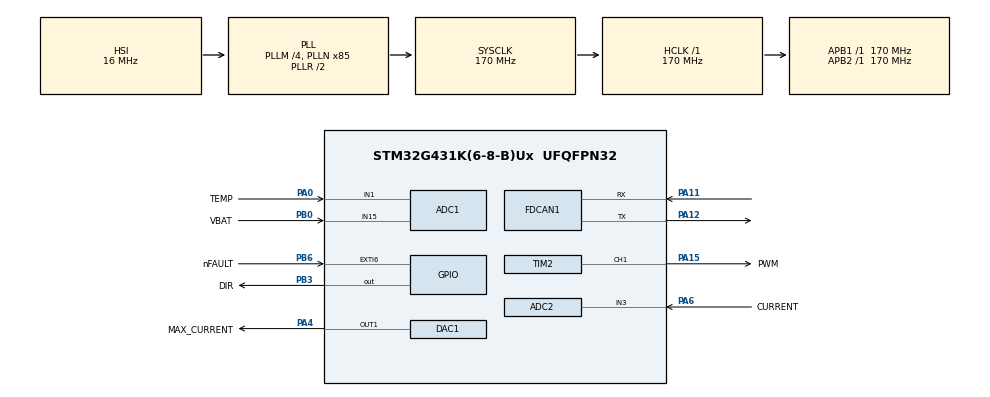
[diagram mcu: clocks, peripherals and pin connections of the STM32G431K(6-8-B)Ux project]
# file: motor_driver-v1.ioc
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ADC1.Channel-0\#ChannelRegularConversion=ADC_CHANNEL_1
ADC1.Channel-1\#ChannelRegularConversion=ADC_CHANNEL_15
ADC1.ClockPrescaler=ADC_CLOCK_SYNC_PCLK_DIV4
ADC1.ContinuousConvMode=ENABLE
ADC1.DMAContinuousRequests=ENABLE
ADC1.NbrOfConversion=2
ADC1.NbrOfConversionFlag=1
ADC1.OffsetNumber-0\#ChannelRegularConversion=ADC_OFFSET_NONE
ADC1.OffsetNumber-1\#ChannelRegularConversion=ADC_OFFSET_NONE
ADC1.Overrun=ADC_OVR_DATA_OVERWRITTEN
ADC1.Rank-0\#ChannelRegularConversion=1
ADC1.Rank-1\#ChannelRegularConversion=2
ADC1.SamplingTime-0\#ChannelRegularConversion=ADC_SAMPLETIME_92CYCLES_5
ADC1.SamplingTime-1\#ChannelRegularConversion=ADC_SAMPLETIME_92CYCLES_5
ADC1.master=1
ADC2.Channel-0\#ChannelRegularConversion=ADC_CHANNEL_3
ADC2.ClockPrescaler=ADC_CLOCK_SYNC_PCLK_DIV4
ADC2.ContinuousConvMode=ENABLE
ADC2.DMAContinuousRequests=ENABLE
ADC2.NbrOfConversion=1
ADC2.NbrOfConversionFlag=1
ADC2.OffsetNumber-0\#ChannelRegularConversion=ADC_OFFSET_NONE
ADC2.Overrun=ADC_OVR_DATA_OVERWRITTEN
ADC2.Rank-0\#ChannelRegularConversion=1
ADC2.SamplingTime-0\#ChannelRegularConversion=ADC_SAMPLETIME_92CYCLES_5
Dma.ADC1.0.Direction=DMA_PERIPH_TO_MEMORY
Dma.ADC1.0.EventEnable=DISABLE
Dma.ADC1.0.Instance=DMA1_Channel1
Dma.ADC1.0.MemDataAlignment=DMA_MDATAALIGN_HALFWORD
Dma.ADC1.0.MemInc=DMA_MINC_ENABLE
Dma.ADC1.0.Mode=DMA_CIRCULAR
Dma.ADC1.0.PeriphDataAlignment=DMA_PDATAALIGN_HALFWORD
Dma.ADC1.0.PeriphInc=DMA_PINC_DISABLE
Dma.ADC1.0.Polarity=HAL_DMAMUX_REQ_GEN_RISING
Dma.ADC1.0.Priority=DMA_PRIORITY_LOW
Dma.ADC1.0.RequestNumber=1
Dma.ADC1.0.SignalID=NONE
Dma.ADC1.0.SyncEnable=DISABLE
Dma.ADC1.0.SyncPolarity=HAL_DMAMUX_SYNC_NO_EVENT
Dma.ADC1.0.SyncRequestNumber=1
Dma.ADC1.0.SyncSignalID=NONE
Dma.ADC2.1.Direction=DMA_PERIPH_TO_MEMORY
Dma.ADC2.1.EventEnable=DISABLE
Dma.ADC2.1.Instance=DMA1_Channel2
Dma.ADC2.1.MemDataAlignment=DMA_MDATAALIGN_HALFWORD
Dma.ADC2.1.MemInc=DMA_MINC_ENABLE
Dma.ADC2.1.Mode=DMA_CIRCULAR
Dma.ADC2.1.PeriphDataAlignment=DMA_PDATAALIGN_HALFWORD
Dma.ADC2.1.PeriphInc=DMA_PINC_DISABLE
Dma.ADC2.1.Polarity=HAL_DMAMUX_REQ_GEN_RISING
Dma.ADC2.1.Priority=DMA_PRIORITY_LOW
Dma.ADC2.1.RequestNumber=1
Dma.ADC2.1.SignalID=NONE
Dma.ADC2.1.SyncEnable=DISABLE
Dma.ADC2.1.SyncPolarity=HAL_DMAMUX_SYNC_NO_EVENT
Dma.ADC2.1.SyncRequestNumber=1
Dma.ADC2.1.SyncSignalID=NONE
Dma.Request0=ADC1
Dma.Request1=ADC2
FDCAN1.CalculateBaudRateNominal=500000
FDCAN1.CalculateTimeBitNominal=2000
FDCAN1.CalculateTimeQuantumNominal=100.0
FDCAN1.DataPrescaler=17
FDCAN1.DataTimeSeg1=15
FDCAN1.DataTimeSeg2=4
FDCAN1.FrameFormat=FDCAN_FRAME_CLASSIC
FDCAN1.NominalPrescaler=17
FDCAN1.NominalTimeSeg1=15
FDCAN1.NominalTimeSeg2=4
Mcu.Family=STM32G4
Mcu.Name=STM32G431K(6-8-B)Ux
Mcu.Package=UFQFPN32
NVIC.DMA1_Channel1_IRQn=true\:14\:0\:true\:false\:true\:false\:true\:true
NVIC.DMA1_Channel2_IRQn=true\:14\:0\:true\:false\:true\:false\:true\:true
NVIC.EXTI9_5_IRQn=true\:0\:0\:true\:false\:true\:true\:true\:true
NVIC.FDCAN1_IT0_IRQn=true\:4\:0\:true\:false\:true\:true\:true\:true
NVIC.FDCAN1_IT1_IRQn=true\:5\:0\:true\:false\:true\:true\:true\:true
NVIC.PriorityGroup=NVIC_PRIORITYGROUP_4
NVIC.TIM1_BRK_TIM15_IRQn=true\:3\:0\:true\:false\:true\:true\:true\:true
NVIC.TIM1_TRG_COM_TIM17_IRQn=true\:0\:0\:false\:false\:true\:true\:true\:true
NVIC.TIM1_UP_TIM16_IRQn=true\:2\:0\:true\:false\:true\:true\:true\:true
NVIC.TIM6_DAC_IRQn=true\:6\:0\:true\:false\:true\:true\:true\:true
PA0.GPIO_Label=TEMP
PA0.Mode=IN1-Single-Ended
PA0.Signal=ADC1_IN1
PA11.Mode=FDCAN_Activate
PA11.Signal=FDCAN1_RX
PA12.Mode=FDCAN_Activate
PA12.Signal=FDCAN1_TX
PA13.Mode=Serial_Wire
PA13.Signal=SYS_JTMS-SWDIO
PA14.Mode=Serial_Wire
PA14.Signal=SYS_JTCK-SWCLK
PA15.GPIO_Label=PWM
PA15.Signal=S_TIM2_CH1
PA4.GPIO_Label=MAX_CURRENT
PA4.Signal=COMP_DAC11_group
PA6.GPIO_Label=CURRENT
PA6.Mode=IN3-Single-Ended
PA6.Signal=ADC2_IN3
PB0.GPIO_Label=VBAT
PB0.Mode=IN15-Single-Ended
PB0.Signal=ADC1_IN15
PB3.GPIO_Label=DIR
PB3.Signal=GPIO_Output
PB6.GPIO_Label=nFAULT
PB6.GPIO_PuPd=GPIO_PULLUP
PB6.Signal=GPXTI6
ProjectManager.HeapSize=0x200
ProjectManager.StackSize=0x400
ProjectManager.TargetToolchain=STM32CubeIDE
RCC.ADC12Freq_Value=170000000
RCC.AHBFreq_Value=170000000
RCC.APB1Freq_Value=170000000
RCC.APB1TimFreq_Value=170000000
RCC.APB2Freq_Value=170000000
RCC.APB2TimFreq_Value=170000000
RCC.CortexFreq_Value=170000000
RCC.EXTERNAL_CLOCK_VALUE=12288000
RCC.HCLKFreq_Value=170000000
RCC.HSE_VALUE=48000000
RCC.HSI48_VALUE=48000000
RCC.HSI_VALUE=16000000
RCC.LSE_VALUE=32768
RCC.PLLM=RCC_PLLM_DIV4
RCC.PLLN=85
RCC.SYSCLKFreq_VALUE=170000000
RCC.SYSCLKSource=RCC_SYSCLKSOURCE_PLLCLK
RCC.USBFreq_Value=170000000
RCC.VCOOutputFreq_Value=340000000
SH.COMP_DAC11_group.0=DAC1_OUT1,DAC_OUT1
SH.S_TIM2_CH1.0=TIM2_CH1,PWM Generation1 CH1
TIM15.AutoReloadPreload=TIM_AUTORELOAD_PRELOAD_ENABLE
TIM15.PeriodNoDither=100-1
TIM15.Prescaler=85-1
TIM16.AutoReloadPreload=TIM_AUTORELOAD_PRELOAD_ENABLE
TIM16.PeriodNoDither=1000-1
TIM16.Prescaler=17-1
TIM17.AutoReloadPreload=TIM_AUTORELOAD_PRELOAD_ENABLE
TIM17.PeriodNoDither=100-1
TIM17.Prescaler=17-1
TIM2.Channel-PWM\ Generation1\ CH1=TIM_CHANNEL_1
TIM2.PeriodNoDither=1000-1
TIM2.Prescaler=17-1
VP_SYS_VS_DBSignals.Mode=DisableDeadBatterySignals
VP_TIM15_VS_ClockSourceINT.Mode=Internal
VP_TIM16_VS_ClockSourceINT.Mode=Enable_Timer
VP_TIM17_VS_ClockSourceINT.Mode=Enable_Timer
board=custom

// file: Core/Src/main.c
/* USER CODE BEGIN Header */
/**
  ******************************************************************************
  * @file           : main.c
  * @brief          : Main program body
  ******************************************************************************
  * @attention
  *
  * Copyright (c) 2026 STMicroelectronics.
  * All rights reserved.
  *
  * This software is licensed under terms that can be found in the LICENSE file
  * in the root directory of this software component.
  * If no LICENSE file comes with this software, it is provided AS-IS.
  *
  ******************************************************************************
  */
/* USER CODE END Header */
#include "main.h"

/* USER CODE BEGIN Includes */
#include <math.h>
/* USER CODE END Includes */

/* USER CODE BEGIN PD */
#define READ 		1
#define WRITE 		0
#define TRUE 		1
#define FALSE 		0

//ADC channels
#define Current				     	0 //ADC2, channel no. 0

#define FET_Temp					0 //ADC1, channel no. 0
#define Battery_Voltage_Channel 	1 //ADC1, channel no. 1

// Electrical parameters
#define Shunt_Resistor	     	 (float)0.010	// Ohm
#define Voltage_Resistor_Top 			91.0		// kOhm
#define Voltage_Resistor_Bottom  		10.0		// kOhm

//#define Reference_Voltage				3.6157		// V
#define Reference_Voltage				3.262		// V
#define NTC_Series_Resistor				10000	// Ohm
#define NTC_Beta						3453
#define NTC_Nominal_Resistance			10000	// Ohm
#define NTC_Nominal_Temperature			25		// C degree
#define ADC_MAX_VALUE					4096
#define C_OFFSET						20

// Limits
#define	OVERTEMP_DUTY					400				// Maximum duty operation over Temperature normal limit;
#define HARDWARE_CURRENT_LIMIT_FACTOR	0.8				// HArdware current limiter in % where 1 is 100% for over-temp condition;
#define HARDWARE_CURRENT_LIMIT			1000			// DAC reference value for current limit 0-1000
#define SHORT_DURATION_CURRENT_LIMIT 	1				// Maximum short duration motor current in Amps
#define LONG_DURATION_CURRENT_LIMIT 	1				// Maximum long duration motor current in Amps
#define LONG_DURATION_THRESHOLD 		2000			// Time to apply Long Duration Current limit in Milliseconds
#define DAC_REVERENCE_VOLTAGE			1000			// 0-4096 equal to 0-3.3V Reference voltage as current limiter
#define MAX_MOTOR_TEMPERATURE			90				// Maximum allowed motor temperature in C
#define MAX_FET_TEMPERATURE				90				// Maximum allowed mosfets temperature in C

#define CAN_TIMEOUT						20000				// Time after driver goes to idle. 200 is 1second

// MACHINE STATES
#define IDLE							0
#define RUN								1
#define ERROR							3

// ERRORS STATES
#define OK								0
#define SDOC							4		// Short Duration over current error
#define LDOC						   64		// Long Duration over current error
#define OVERTEMP_FET				   16		// FET Over-temperature
#define OVERTEMP_MOTOR				    8		// Motor Over-temperature
#define CRITICAL_ERROR				  128		// Critical error, emergency motor shutdown

#define MOTOR_A							0		// RIGHT MOTOR
#define MOTOR_B							1		// LEFT MOTOR
#define FORWARD							6		// MOTOR DIRECTION
#define REVERSE							8		//

#define CAN_ID_CTRL  60
#define CAN_ID_DRV0  67
#define CAN_ID_DRV1  69
#define MACHINE_CHOICE 1
// Error MAP
//		Bit 0		| 		Bit 1		| 		Bit 2		| 		Bit 3		| 		Bit 4		| 		Bit 5		| 		Bit 6		| 		Bit 7		|
//  Critical Error	|  LD Over-current	| 	   Not Used		|  FET Temperature	| Motor Temperature	|	SD Over current |	   Not Used		| 	Motor Status	|
//	 0-OK  1-Error	|	0-OK   1-Error	|   	  0			|  0-OK	  1-Error	|  0-OK	  1-Error	|  0-OK	  1-Error	|  		  0			| 0 - Idle 1 - Run	|
/* USER CODE END PD */

ADC_HandleTypeDef hadc1;
ADC_HandleTypeDef hadc2;
DMA_HandleTypeDef hdma_adc1;
DMA_HandleTypeDef hdma_adc2;

DAC_HandleTypeDef hdac1;

FDCAN_HandleTypeDef hfdcan1;

TIM_HandleTypeDef htim2;
TIM_HandleTypeDef htim15;
TIM_HandleTypeDef htim16;
TIM_HandleTypeDef htim17;

/* USER CODE BEGIN PV */
volatile int32_t dupa=-21;
volatile int32_t dupa2=-21;
volatile int32_t dupa3=-21;

// State Machine
uint8_t 			MACHINE_STATE;

// peripheral's Buffers
volatile uint16_t ADC1_BUFFER[2];	 //TEMP, VBAT
volatile uint16_t ADC2_BUFFER[1];	//CURRENT

FDCAN_RxHeaderTypeDef 		CAN_RX_Header; 		//CAN Bus Transmit Header
FDCAN_TxHeaderTypeDef 		CAN_TX_Header; 		//CAN Bus Receive Header
FDCAN_FilterTypeDef 		CAN_Filter; 		//CAN Bus Filter
uint8_t 					CAN_RX		[8];  	//CAN Receive Buffer
uint8_t 					CAN_TX		[8];	//CAN Transmit Buffer

// CAN Register Map:
uint8_t CAN_Format;
uint8_t CAN_Addres_Mask;
uint8_t CAN_ADDR;
uint8_t Motor_Temp_Limit;
uint8_t FET_Temp_Limit;
uint8_t Max_Current_Peak;
uint8_t Max_Current_Continous;
uint8_t Max_Acceleration;
uint8_t Max_Deceleration;

uint8_t CAN_Acceleration;
int16_t CAN_Duty;
uint8_t CAN_Status_Instruction;

uint8_t CAN_STATUS_FLAG;
uint8_t CAN_NEW_MESSEGE_NOTIFICATION_DING_DING_DONG=0;

// Status Registers
volatile int16_t Actual_Duty;
volatile float	Motor_Current;
volatile uint8_t Motor_Error;
volatile uint8_t Motor_Status;
volatile float Motor_Temperature;
volatile float FET_Temperature;
volatile uint16_t DAC_Value;
volatile uint8_t REVERSED;

float	 		Battery_Voltage;
float			Battery_constant;
float			Current_constant;

//performance!
volatile uint8_t CAN_TX_OVERFLOW = 0;
volatile uint8_t CAN_RX_OVERFLOW = 0;
static uint8_t SELF_CAN_ID;

// OLD Variables
// Current measurements for debug - to implement in functions
volatile uint32_t 		CurrentA_Average = 0;
/* USER CODE END PV */

void SystemClock_Config(void);
static void MX_GPIO_Init(void);
static void MX_DMA_Init(void);
static void MX_ADC1_Init(void);
static void MX_ADC2_Init(void);
static void MX_DAC1_Init(void);
static void MX_FDCAN1_Init(void);
static void MX_TIM2_Init(void);
static void MX_TIM17_Init(void);
static void MX_TIM15_Init(void);
static void MX_TIM16_Init(void);
/* USER CODE BEGIN PFP */

void Interrupt10kHz(void);
void PREPARE_AND_SEND_CAN_RESPONSE_IT(void);
void Interrupt200Hz(void);

void Idle(void);
void Run(void);
void InError(void);

// Read and filter motor currents
void MovingAverage(uint16_t Measured_Current);

// Motor Control
int16_t Motor_Control(int16_t Duty, uint8_t Motor);
int16_t OverCurrent_Compensation(int16_t Duty, uint8_t Motor);
int16_t OverTemp_Compensation(int16_t Duty, uint8_t Motor);
uint8_t LDOC_check(uint8_t Motor);
void EmergencyShutdown(void);

void Set_Motor(uint8_t motor, int16_t velocity);
int16_t ConvertPWM (uint8_t DIR1, uint16_t PWM);
uint8_t SetBrakeFlag (uint8_t DIR1, uint8_t DIR2);

void Calculate_Temp(void);
/* USER CODE END PFP */

int main(void)
{

  /* MCU Configuration--------------------------------------------------------*/

  /* Reset of all peripherals, Initializes the Flash interface and the Systick. */
  HAL_Init();

  /* USER CODE BEGIN Init */
  //HAL_Delay(100);
  /* USER CODE END Init */

  /* Configure the system clock */
  SystemClock_Config();

  /* Initialize all configured peripherals */
  MX_GPIO_Init();
  MX_DMA_Init();
  MX_ADC1_Init();
  MX_ADC2_Init();
  MX_DAC1_Init();
  MX_FDCAN1_Init();
  MX_TIM2_Init();
  MX_TIM17_Init();
  MX_TIM15_Init();
  MX_TIM16_Init();
  /* USER CODE BEGIN 2 */

	__HAL_TIM_SET_COUNTER(&htim15, 0);
	//__HAL_TIM_SET_COUNTER(&htim16, 0);
	//__HAL_TIM_SET_COUNTER(&htim17, 0);

	__HAL_TIM_CLEAR_FLAG(&htim15, TIM_FLAG_UPDATE);
	//__HAL_TIM_CLEAR_FLAG(&htim16, TIM_FLAG_UPDATE);
	//__HAL_TIM_CLEAR_FLAG(&htim17, TIM_FLAG_UPDATE);

	if(HAL_TIM_Base_Start_IT(&htim15) != HAL_OK) //200Hz, watchdog
		Error_Handler();
	//if(HAL_TIM_Base_Start_IT(&htim16) != HAL_OK) //1Khz, can response
		//Error_Handler();
	//if(HAL_TIM_Base_Start_IT(&htim17) != HAL_OK) //10KHz, main
		//Error_Handler();

  /* USER CODE END 2 */

  /* Infinite loop */
  /* USER CODE BEGIN WHILE */
  while (1)
  {
	  dupa++;

    /* USER CODE END WHILE */

  }
}

void SystemClock_Config(void)
{
  RCC_OscInitTypeDef RCC_OscInitStruct = {0};
  RCC_ClkInitTypeDef RCC_ClkInitStruct = {0};

  /** Configure the main internal regulator output voltage
  */
  HAL_PWREx_ControlVoltageScaling(PWR_REGULATOR_VOLTAGE_SCALE1_BOOST);

  /** Initializes the RCC Oscillators according to the specified parameters
  * in the RCC_OscInitTypeDef structure.
  */
  RCC_OscInitStruct.OscillatorType = RCC_OSCILLATORTYPE_HSI;
  RCC_OscInitStruct.HSIState = RCC_HSI_ON;
  RCC_OscInitStruct.HSICalibrationValue = RCC_HSICALIBRATION_DEFAULT;
  RCC_OscInitStruct.PLL.PLLState = RCC_PLL_ON;
  RCC_OscInitStruct.PLL.PLLSource = RCC_PLLSOURCE_HSI;
  RCC_OscInitStruct.PLL.PLLM = RCC_PLLM_DIV4;
  RCC_OscInitStruct.PLL.PLLN = 85;
  RCC_OscInitStruct.PLL.PLLP = RCC_PLLP_DIV2;
  RCC_OscInitStruct.PLL.PLLQ = RCC_PLLQ_DIV2;
  RCC_OscInitStruct.PLL.PLLR = RCC_PLLR_DIV2;
  if (HAL_RCC_OscConfig(&RCC_OscInitStruct) != HAL_OK)
  {
    Error_Handler();
  }

  /** Initializes the CPU, AHB and APB buses clocks
  */
  RCC_ClkInitStruct.ClockType = RCC_CLOCKTYPE_HCLK|RCC_CLOCKTYPE_SYSCLK
                              |RCC_CLOCKTYPE_PCLK1|RCC_CLOCKTYPE_PCLK2;
  RCC_ClkInitStruct.SYSCLKSource = RCC_SYSCLKSOURCE_PLLCLK;
  RCC_ClkInitStruct.AHBCLKDivider = RCC_SYSCLK_DIV1;
  RCC_ClkInitStruct.APB1CLKDivider = RCC_HCLK_DIV1;
  RCC_ClkInitStruct.APB2CLKDivider = RCC_HCLK_DIV1;

  if (HAL_RCC_ClockConfig(&RCC_ClkInitStruct, FLASH_LATENCY_4) != HAL_OK)
  {
    Error_Handler();
  }
}

static void MX_ADC1_Init(void)
{

  ADC_MultiModeTypeDef multimode = {0};
  ADC_ChannelConfTypeDef sConfig = {0};

  /** Common config
  */
  hadc1.Instance = ADC1;
  hadc1.Init.ClockPrescaler = ADC_CLOCK_SYNC_PCLK_DIV4;
  hadc1.Init.Resolution = ADC_RESOLUTION_12B;
  hadc1.Init.DataAlign = ADC_DATAALIGN_RIGHT;
  hadc1.Init.GainCompensation = 0;
  hadc1.Init.ScanConvMode = ADC_SCAN_ENABLE;
  hadc1.Init.EOCSelection = ADC_EOC_SINGLE_CONV;
  hadc1.Init.LowPowerAutoWait = DISABLE;
  hadc1.Init.ContinuousConvMode = ENABLE;
  hadc1.Init.NbrOfConversion = 2;
  hadc1.Init.DiscontinuousConvMode = DISABLE;
  hadc1.Init.ExternalTrigConv = ADC_SOFTWARE_START;
  hadc1.Init.ExternalTrigConvEdge = ADC_EXTERNALTRIGCONVEDGE_NONE;
  hadc1.Init.DMAContinuousRequests = ENABLE;
  hadc1.Init.Overrun = ADC_OVR_DATA_OVERWRITTEN;
  hadc1.Init.OversamplingMode = DISABLE;
  if (HAL_ADC_Init(&hadc1) != HAL_OK)
  {
    Error_Handler();
  }

  /** Configure the ADC multi-mode
  */
  multimode.Mode = ADC_MODE_INDEPENDENT;
  if (HAL_ADCEx_MultiModeConfigChannel(&hadc1, &multimode) != HAL_OK)
  {
    Error_Handler();
  }

  /** Configure Regular Channel
  */
  sConfig.Channel = ADC_CHANNEL_1;
  sConfig.Rank = ADC_REGULAR_RANK_1;
  sConfig.SamplingTime = ADC_SAMPLETIME_92CYCLES_5;
  sConfig.SingleDiff = ADC_SINGLE_ENDED;
  sConfig.OffsetNumber = ADC_OFFSET_NONE;
  sConfig.Offset = 0;
  if (HAL_ADC_ConfigChannel(&hadc1, &sConfig) != HAL_OK)
  {
    Error_Handler();
  }

  /** Configure Regular Channel
  */
  sConfig.Channel = ADC_CHANNEL_15;
  sConfig.Rank = ADC_REGULAR_RANK_2;
  if (HAL_ADC_ConfigChannel(&hadc1, &sConfig) != HAL_OK)
  {
    Error_Handler();
  }

}

static void MX_ADC2_Init(void)
{

  ADC_ChannelConfTypeDef sConfig = {0};

  /** Common config
  */
  hadc2.Instance = ADC2;
  hadc2.Init.ClockPrescaler = ADC_CLOCK_SYNC_PCLK_DIV4;
  hadc2.Init.Resolution = ADC_RESOLUTION_12B;
  hadc2.Init.DataAlign = ADC_DATAALIGN_RIGHT;
  hadc2.Init.GainCompensation = 0;
  hadc2.Init.ScanConvMode = ADC_SCAN_DISABLE;
  hadc2.Init.EOCSelection = ADC_EOC_SINGLE_CONV;
  hadc2.Init.LowPowerAutoWait = DISABLE;
  hadc2.Init.ContinuousConvMode = ENABLE;
  hadc2.Init.NbrOfConversion = 1;
  hadc2.Init.DiscontinuousConvMode = DISABLE;
  hadc2.Init.ExternalTrigConv = ADC_SOFTWARE_START;
  hadc2.Init.ExternalTrigConvEdge = ADC_EXTERNALTRIGCONVEDGE_NONE;
  hadc2.Init.DMAContinuousRequests = ENABLE;
  hadc2.Init.Overrun = ADC_OVR_DATA_OVERWRITTEN;
  hadc2.Init.OversamplingMode = DISABLE;
  if (HAL_ADC_Init(&hadc2) != HAL_OK)
  {
    Error_Handler();
  }

  /** Configure Regular Channel
  */
  sConfig.Channel = ADC_CHANNEL_3;
  sConfig.Rank = ADC_REGULAR_RANK_1;
  sConfig.SamplingTime = ADC_SAMPLETIME_92CYCLES_5;
  sConfig.SingleDiff = ADC_SINGLE_ENDED;
  sConfig.OffsetNumber = ADC_OFFSET_NONE;
  sConfig.Offset = 0;
  if (HAL_ADC_ConfigChannel(&hadc2, &sConfig) != HAL_OK)
  {
    Error_Handler();
  }

}

static void MX_DAC1_Init(void)
{

  DAC_ChannelConfTypeDef sConfig = {0};

  /** DAC Initialization
  */
  hdac1.Instance = DAC1;
  if (HAL_DAC_Init(&hdac1) != HAL_OK)
  {
    Error_Handler();
  }

  /** DAC channel OUT1 config
  */
  sConfig.DAC_HighFrequency = DAC_HIGH_FREQUENCY_INTERFACE_MODE_AUTOMATIC;
  sConfig.DAC_DMADoubleDataMode = DISABLE;
  sConfig.DAC_SignedFormat = DISABLE;
  sConfig.DAC_SampleAndHold = DAC_SAMPLEANDHOLD_DISABLE;
  sConfig.DAC_Trigger = DAC_TRIGGER_NONE;
  sConfig.DAC_Trigger2 = DAC_TRIGGER_NONE;
  sConfig.DAC_OutputBuffer = DAC_OUTPUTBUFFER_ENABLE;
  sConfig.DAC_ConnectOnChipPeripheral = DAC_CHIPCONNECT_EXTERNAL;
  sConfig.DAC_UserTrimming = DAC_TRIMMING_FACTORY;
  if (HAL_DAC_ConfigChannel(&hdac1, &sConfig, DAC_CHANNEL_1) != HAL_OK)
  {
    Error_Handler();
  }

}

static void MX_FDCAN1_Init(void)
{

  hfdcan1.Instance = FDCAN1;
  hfdcan1.Init.ClockDivider = FDCAN_CLOCK_DIV1;
  hfdcan1.Init.FrameFormat = FDCAN_FRAME_CLASSIC;
  hfdcan1.Init.Mode = FDCAN_MODE_NORMAL;
  hfdcan1.Init.AutoRetransmission = DISABLE;
  hfdcan1.Init.TransmitPause = DISABLE;
  hfdcan1.Init.ProtocolException = DISABLE;
  hfdcan1.Init.NominalPrescaler = 17;
  hfdcan1.Init.NominalSyncJumpWidth = 1;
  hfdcan1.Init.NominalTimeSeg1 = 15;
  hfdcan1.Init.NominalTimeSeg2 = 4;
  hfdcan1.Init.DataPrescaler = 17;
  hfdcan1.Init.DataSyncJumpWidth = 1;
  hfdcan1.Init.DataTimeSeg1 = 15;
  hfdcan1.Init.DataTimeSeg2 = 4;
  hfdcan1.Init.StdFiltersNbr = 0;
  hfdcan1.Init.ExtFiltersNbr = 0;
  hfdcan1.Init.TxFifoQueueMode = FDCAN_TX_FIFO_OPERATION;
  if (HAL_FDCAN_Init(&hfdcan1) != HAL_OK)
  {
    Error_Handler();
  }

}

static void MX_TIM2_Init(void)
{

  TIM_MasterConfigTypeDef sMasterConfig = {0};
  TIM_OC_InitTypeDef sConfigOC = {0};

  htim2.Instance = TIM2;
  htim2.Init.Prescaler = 17-1;
  htim2.Init.CounterMode = TIM_COUNTERMODE_UP;
  htim2.Init.Period = 999;
  htim2.Init.ClockDivision = TIM_CLOCKDIVISION_DIV1;
  htim2.Init.AutoReloadPreload = TIM_AUTORELOAD_PRELOAD_DISABLE;
  if (HAL_TIM_PWM_Init(&htim2) != HAL_OK)
  {
    Error_Handler();
  }
  sMasterConfig.MasterOutputTrigger = TIM_TRGO_RESET;
  sMasterConfig.MasterSlaveMode = TIM_MASTERSLAVEMODE_DISABLE;
  if (HAL_TIMEx_MasterConfigSynchronization(&htim2, &sMasterConfig) != HAL_OK)
  {
    Error_Handler();
  }
  sConfigOC.OCMode = TIM_OCMODE_PWM1;
  sConfigOC.Pulse = 0;
  sConfigOC.OCPolarity = TIM_OCPOLARITY_HIGH;
  sConfigOC.OCFastMode = TIM_OCFAST_DISABLE;
  if (HAL_TIM_PWM_ConfigChannel(&htim2, &sConfigOC, TIM_CHANNEL_1) != HAL_OK)
  {
    Error_Handler();
  }
  HAL_TIM_MspPostInit(&htim2);

}

static void MX_TIM15_Init(void)
{

  TIM_ClockConfigTypeDef sClockSourceConfig = {0};
  TIM_MasterConfigTypeDef sMasterConfig = {0};

  htim15.Instance = TIM15;
  htim15.Init.Prescaler = 85-1;
  htim15.Init.CounterMode = TIM_COUNTERMODE_UP;
  htim15.Init.Period = 99;
  htim15.Init.ClockDivision = TIM_CLOCKDIVISION_DIV1;
  htim15.Init.RepetitionCounter = 0;
  htim15.Init.AutoReloadPreload = TIM_AUTORELOAD_PRELOAD_ENABLE;
  if (HAL_TIM_Base_Init(&htim15) != HAL_OK)
  {
    Error_Handler();
  }
  sClockSourceConfig.ClockSource = TIM_CLOCKSOURCE_INTERNAL;
  if (HAL_TIM_ConfigClockSource(&htim15, &sClockSourceConfig) != HAL_OK)
  {
    Error_Handler();
  }
  sMasterConfig.MasterOutputTrigger = TIM_TRGO_RESET;
  sMasterConfig.MasterSlaveMode = TIM_MASTERSLAVEMODE_DISABLE;
  if (HAL_TIMEx_MasterConfigSynchronization(&htim15, &sMasterConfig) != HAL_OK)
  {
    Error_Handler();
  }

}

static void MX_TIM16_Init(void)
{

  htim16.Instance = TIM16;
  htim16.Init.Prescaler = 17-1;
  htim16.Init.CounterMode = TIM_COUNTERMODE_UP;
  htim16.Init.Period = 999;
  htim16.Init.ClockDivision = TIM_CLOCKDIVISION_DIV1;
  htim16.Init.RepetitionCounter = 0;
  htim16.Init.AutoReloadPreload = TIM_AUTORELOAD_PRELOAD_ENABLE;
  if (HAL_TIM_Base_Init(&htim16) != HAL_OK)
  {
    Error_Handler();
  }

}

static void MX_TIM17_Init(void)
{

  htim17.Instance = TIM17;
  htim17.Init.Prescaler = 17-1;
  htim17.Init.CounterMode = TIM_COUNTERMODE_UP;
  htim17.Init.Period = 99;
  htim17.Init.ClockDivision = TIM_CLOCKDIVISION_DIV1;
  htim17.Init.RepetitionCounter = 0;
  htim17.Init.AutoReloadPreload = TIM_AUTORELOAD_PRELOAD_ENABLE;
  if (HAL_TIM_Base_Init(&htim17) != HAL_OK)
  {
    Error_Handler();
  }

}

static void MX_DMA_Init(void)
{

  /* DMA controller clock enable */
  __HAL_RCC_DMAMUX1_CLK_ENABLE();
  __HAL_RCC_DMA1_CLK_ENABLE();

  /* DMA interrupt init */
  /* DMA1_Channel1_IRQn interrupt configuration */
  HAL_NVIC_SetPriority(DMA1_Channel1_IRQn, 14, 0);
  HAL_NVIC_EnableIRQ(DMA1_Channel1_IRQn);
  /* DMA1_Channel2_IRQn interrupt configuration */
  HAL_NVIC_SetPriority(DMA1_Channel2_IRQn, 14, 0);
  HAL_NVIC_EnableIRQ(DMA1_Channel2_IRQn);

}

static void MX_GPIO_Init(void)
{
  GPIO_InitTypeDef GPIO_InitStruct = {0};

  /* GPIO Ports Clock Enable */
  __HAL_RCC_GPIOA_CLK_ENABLE();
  __HAL_RCC_GPIOB_CLK_ENABLE();

  /*Configure GPIO pin Output Level */
  HAL_GPIO_WritePin(DIR_GPIO_Port, DIR_Pin, GPIO_PIN_RESET);

  /*Configure GPIO pin : DIR_Pin */
  GPIO_InitStruct.Pin = DIR_Pin;
  GPIO_InitStruct.Mode = GPIO_MODE_OUTPUT_PP;
  GPIO_InitStruct.Pull = GPIO_NOPULL;
  GPIO_InitStruct.Speed = GPIO_SPEED_FREQ_LOW;
  HAL_GPIO_Init(DIR_GPIO_Port, &GPIO_InitStruct);

  /*Configure GPIO pin : nFAULT_Pin */
  GPIO_InitStruct.Pin = nFAULT_Pin;
  GPIO_InitStruct.Mode = GPIO_MODE_IT_RISING;
  GPIO_InitStruct.Pull = GPIO_PULLUP;
  HAL_GPIO_Init(nFAULT_GPIO_Port, &GPIO_InitStruct);

  /* EXTI interrupt init*/
  HAL_NVIC_SetPriority(EXTI9_5_IRQn, 0, 0);
  HAL_NVIC_EnableIRQ(EXTI9_5_IRQn);

}

/* USER CODE BEGIN 4 */
void HAL_TIM_PeriodElapsedCallback(TIM_HandleTypeDef *htim)
{
    if (htim->Instance == TIM17)
    {
    	dupa3=17;
    }
    else if (htim->Instance == TIM16)
    {
    	dupa3=16;
    }
    else if (htim->Instance == TIM15)
    {
    	dupa3=15;
    }
}

/* USER CODE END 4 */

void Error_Handler(void)
{
  /* USER CODE BEGIN Error_Handler_Debug */
	dupa=-1;
  /* User can add his own implementation to report the HAL error return state */
  __disable_irq();
  while (1)
  {
	  dupa2++;
  }
  /* USER CODE END Error_Handler_Debug */
}
